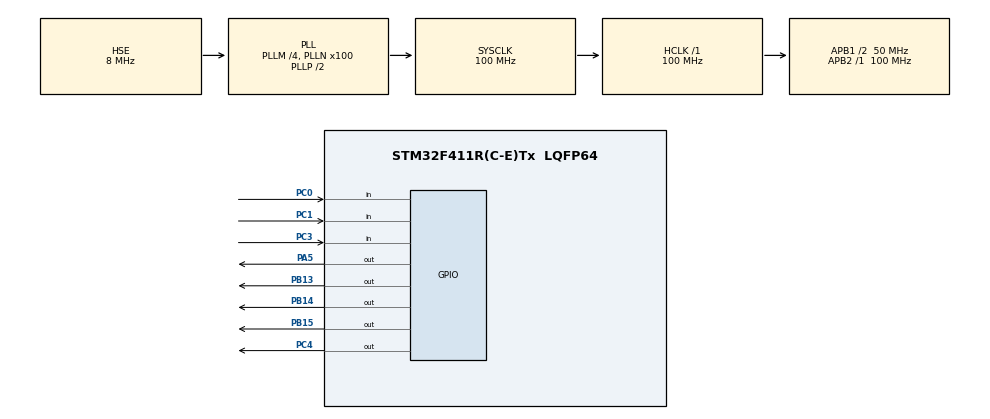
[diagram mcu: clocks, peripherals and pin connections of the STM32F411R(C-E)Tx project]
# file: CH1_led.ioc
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Mcu.Family=STM32F4
Mcu.Name=STM32F411R(C-E)Tx
Mcu.Package=LQFP64
NVIC.PriorityGroup=NVIC_PRIORITYGROUP_4
PA13.Mode=Serial_Wire
PA13.Signal=SYS_JTMS-SWDIO
PA14.Mode=Serial_Wire
PA14.Signal=SYS_JTCK-SWCLK
PA5.Signal=GPIO_Output
PB13.Signal=GPIO_Output
PB14.Signal=GPIO_Output
PB15.Signal=GPIO_Output
PC0.Signal=GPIO_Input
PC1.Signal=GPIO_Input
PC3.Signal=GPIO_Input
PC4.Signal=GPIO_Output
PH0\ -\ OSC_IN.Mode=HSE-External-Oscillator
PH0\ -\ OSC_IN.Signal=RCC_OSC_IN
PH1\ -\ OSC_OUT.Mode=HSE-External-Oscillator
PH1\ -\ OSC_OUT.Signal=RCC_OSC_OUT
ProjectManager.HeapSize=0x200
ProjectManager.StackSize=0x400
ProjectManager.TargetToolchain=STM32CubeIDE
RCC.48MHZClocksFreq_Value=50000000
RCC.AHBFreq_Value=100000000
RCC.APB1CLKDivider=RCC_HCLK_DIV2
RCC.APB1Freq_Value=50000000
RCC.APB1TimFreq_Value=100000000
RCC.APB2Freq_Value=100000000
RCC.APB2TimFreq_Value=100000000
RCC.CortexFreq_Value=100000000
RCC.HCLKFreq_Value=100000000
RCC.HSE_VALUE=8000000
RCC.HSI_VALUE=16000000
RCC.LSE_VALUE=32768
RCC.PLLM=4
RCC.PLLN=100
RCC.PLLSourceVirtual=RCC_PLLSOURCE_HSE
RCC.SYSCLKFreq_VALUE=100000000
RCC.SYSCLKSource=RCC_SYSCLKSOURCE_PLLCLK
RCC.VCOOutputFreq_Value=200000000
board=custom

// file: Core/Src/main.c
/* USER CODE BEGIN Header */
/**
 ******************************************************************************
 * @file           : main.c
 * @brief          : Main program body
 ******************************************************************************
 * @attention
 *
 * Copyright (c) 2026 STMicroelectronics.
 * All rights reserved.
 *
 * This software is licensed under terms that can be found in the LICENSE file
 * in the root directory of this software component.
 * If no LICENSE file comes with this software, it is provided AS-IS.
 *
 ******************************************************************************
 */
/* USER CODE END Header */
#include "main.h"

void SystemClock_Config(void);
static void MX_GPIO_Init(void);

int main(void)
{

	/* MCU Configuration--------------------------------------------------------*/

	/* Reset of all peripherals, Initializes the Flash interface and the Systick. */
	HAL_Init();

	/* Configure the system clock */
	SystemClock_Config();

	/* Initialize all configured peripherals */
	MX_GPIO_Init();

	/* Infinite loop */
	/* USER CODE BEGIN WHILE */
	volatile int i = 0;
	while (1)
	{
		if(HAL_GPIO_ReadPin(GPIOC, GPIO_PIN_0)==0) {
			i = 0;
			HAL_GPIO_WritePin(GPIOB, GPIO_PIN_15, GPIO_PIN_SET);
			HAL_GPIO_WritePin(GPIOB, GPIO_PIN_14, GPIO_PIN_SET);
			HAL_GPIO_WritePin(GPIOB, GPIO_PIN_13, GPIO_PIN_SET);
			HAL_GPIO_WritePin(GPIOC, GPIO_PIN_4, GPIO_PIN_SET);
		}

		else if(HAL_GPIO_ReadPin(GPIOC, GPIO_PIN_1)==0){
			i = 0;
			HAL_GPIO_WritePin(GPIOB, GPIO_PIN_15, GPIO_PIN_RESET);
			HAL_GPIO_WritePin(GPIOB, GPIO_PIN_14, GPIO_PIN_RESET);
			HAL_GPIO_WritePin(GPIOB, GPIO_PIN_13, GPIO_PIN_RESET);
			HAL_GPIO_WritePin(GPIOC, GPIO_PIN_4, GPIO_PIN_RESET);
		}

		else if(HAL_GPIO_ReadPin(GPIOC, GPIO_PIN_3)==0){
			i = 1;
		}

		if(i){
			HAL_GPIO_TogglePin(GPIOB, GPIO_PIN_15);
			HAL_GPIO_TogglePin(GPIOB, GPIO_PIN_14);
			HAL_GPIO_TogglePin(GPIOB, GPIO_PIN_13);
			HAL_GPIO_TogglePin(GPIOC, GPIO_PIN_4);
			HAL_Delay(200);
		}
		/* USER CODE END WHILE */

	}
}

void SystemClock_Config(void)
{
	RCC_OscInitTypeDef RCC_OscInitStruct = {0};
	RCC_ClkInitTypeDef RCC_ClkInitStruct = {0};

	/** Configure the main internal regulator output voltage
	 */
	__HAL_RCC_PWR_CLK_ENABLE();
	__HAL_PWR_VOLTAGESCALING_CONFIG(PWR_REGULATOR_VOLTAGE_SCALE1);

	/** Initializes the RCC Oscillators according to the specified parameters
	 * in the RCC_OscInitTypeDef structure.
	 */
	RCC_OscInitStruct.OscillatorType = RCC_OSCILLATORTYPE_HSE;
	RCC_OscInitStruct.HSEState = RCC_HSE_ON;
	RCC_OscInitStruct.PLL.PLLState = RCC_PLL_ON;
	RCC_OscInitStruct.PLL.PLLSource = RCC_PLLSOURCE_HSE;
	RCC_OscInitStruct.PLL.PLLM = 4;
	RCC_OscInitStruct.PLL.PLLN = 100;
	RCC_OscInitStruct.PLL.PLLP = RCC_PLLP_DIV2;
	RCC_OscInitStruct.PLL.PLLQ = 4;
	if (HAL_RCC_OscConfig(&RCC_OscInitStruct) != HAL_OK)
	{
		Error_Handler();
	}

	/** Initializes the CPU, AHB and APB buses clocks
	 */
	RCC_ClkInitStruct.ClockType = RCC_CLOCKTYPE_HCLK|RCC_CLOCKTYPE_SYSCLK
			|RCC_CLOCKTYPE_PCLK1|RCC_CLOCKTYPE_PCLK2;
	RCC_ClkInitStruct.SYSCLKSource = RCC_SYSCLKSOURCE_PLLCLK;
	RCC_ClkInitStruct.AHBCLKDivider = RCC_SYSCLK_DIV1;
	RCC_ClkInitStruct.APB1CLKDivider = RCC_HCLK_DIV2;
	RCC_ClkInitStruct.APB2CLKDivider = RCC_HCLK_DIV1;

	if (HAL_RCC_ClockConfig(&RCC_ClkInitStruct, FLASH_LATENCY_3) != HAL_OK)
	{
		Error_Handler();
	}
}

static void MX_GPIO_Init(void)
{
	GPIO_InitTypeDef GPIO_InitStruct = {0};

	/* GPIO Ports Clock Enable */
	__HAL_RCC_GPIOH_CLK_ENABLE();
	__HAL_RCC_GPIOC_CLK_ENABLE();
	__HAL_RCC_GPIOA_CLK_ENABLE();
	__HAL_RCC_GPIOB_CLK_ENABLE();

	/*Configure GPIO pin Output Level */
	HAL_GPIO_WritePin(GPIOA, GPIO_PIN_5, GPIO_PIN_RESET);

	/*Configure GPIO pin Output Level */
	HAL_GPIO_WritePin(GPIOC, GPIO_PIN_4, GPIO_PIN_RESET);

	/*Configure GPIO pin Output Level */
	HAL_GPIO_WritePin(GPIOB, GPIO_PIN_13|GPIO_PIN_14|GPIO_PIN_15, GPIO_PIN_RESET);

	/*Configure GPIO pins : PC0 PC1 PC3 */
	GPIO_InitStruct.Pin = GPIO_PIN_0|GPIO_PIN_1|GPIO_PIN_3;
	GPIO_InitStruct.Mode = GPIO_MODE_INPUT;
	GPIO_InitStruct.Pull = GPIO_NOPULL;
	HAL_GPIO_Init(GPIOC, &GPIO_InitStruct);

	/*Configure GPIO pin : PA5 */
	GPIO_InitStruct.Pin = GPIO_PIN_5;
	GPIO_InitStruct.Mode = GPIO_MODE_OUTPUT_PP;
	GPIO_InitStruct.Pull = GPIO_NOPULL;
	GPIO_InitStruct.Speed = GPIO_SPEED_FREQ_LOW;
	HAL_GPIO_Init(GPIOA, &GPIO_InitStruct);

	/*Configure GPIO pin : PC4 */
	GPIO_InitStruct.Pin = GPIO_PIN_4;
	GPIO_InitStruct.Mode = GPIO_MODE_OUTPUT_PP;
	GPIO_InitStruct.Pull = GPIO_NOPULL;
	GPIO_InitStruct.Speed = GPIO_SPEED_FREQ_LOW;
	HAL_GPIO_Init(GPIOC, &GPIO_InitStruct);

	/*Configure GPIO pins : PB13 PB14 PB15 */
	GPIO_InitStruct.Pin = GPIO_PIN_13|GPIO_PIN_14|GPIO_PIN_15;
	GPIO_InitStruct.Mode = GPIO_MODE_OUTPUT_PP;
	GPIO_InitStruct.Pull = GPIO_NOPULL;
	GPIO_InitStruct.Speed = GPIO_SPEED_FREQ_LOW;
	HAL_GPIO_Init(GPIOB, &GPIO_InitStruct);

}

void Error_Handler(void)
{
	__disable_irq();
	while (1)
	{
	}
}
